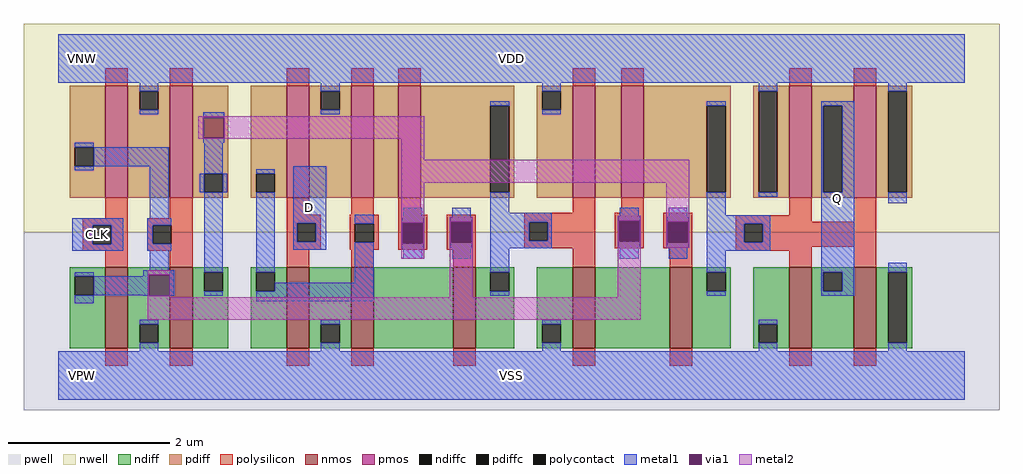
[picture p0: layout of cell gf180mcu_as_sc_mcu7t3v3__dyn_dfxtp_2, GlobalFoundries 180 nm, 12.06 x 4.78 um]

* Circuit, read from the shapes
.subckt gf180mcu_as_sc_mcu7t3v3__dyn_dfxtp_2 VDD VNW VPW VSS CLK D Q
XM1 VSS CLK n1 VPW nfet_03v3 w=1u l=0.28u
XM2 n2 n1 VSS VPW nfet_03v3 w=1u l=0.28u
XM3 VSS D n3 VPW nfet_03v3 w=1u l=0.28u
XM4 n4 n3 VSS VPW nfet_03v3 w=1u l=0.28u
XM5 n5 n1 n4 VPW nfet_03v3 w=1u l=0.28u
XM6 n6 n5 VSS VPW nfet_03v3 w=1u l=0.28u
XM7 n7 n2 n6 VPW nfet_03v3 w=1u l=0.28u
XM8 Q n7 VSS VPW nfet_03v3 w=1u l=0.28u m=2
XM9 VDD CLK n1 VNW pfet_03v3 w=1.38u l=0.28u
XM10 n2 n1 VDD VNW pfet_03v3 w=1.38u l=0.28u
XM11 VDD D n3 VNW pfet_03v3 w=1.38u l=0.28u
XM12 n8 n3 VDD VNW pfet_03v3 w=1.38u l=0.28u
XM13 n5 n2 n8 VNW pfet_03v3 w=1.38u l=0.28u
XM14 n9 n5 VDD VNW pfet_03v3 w=1.38u l=0.28u
XM15 n7 n1 n9 VNW pfet_03v3 w=1.38u l=0.28u
XM16 Q n7 VDD VNW pfet_03v3 w=1.38u l=0.28u m=2
.ends

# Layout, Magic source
magic
tech gf180mcuD
magscale 1 10
<< nwell >>
rect -86 354 2326 870
<< pwell >>
rect -86 -86 2326 354
<< nmos >>
rect 116 68 172 268
rect 276 68 332 268
rect 564 68 620 268
rect 724 68 780 268
rect 976 68 1032 268
rect 1271 68 1327 268
rect 1511 68 1567 268
rect 1806 68 1862 268
rect 1966 68 2022 268
<< pmos >>
rect 116 440 172 716
rect 276 440 332 716
rect 564 440 620 716
rect 724 440 780 716
rect 840 440 896 716
rect 1271 440 1327 716
rect 1391 440 1447 716
rect 1806 440 1862 716
rect 1966 440 2022 716
<< ndiff >>
rect 28 245 116 268
rect 28 199 41 245
rect 87 199 116 245
rect 28 68 116 199
rect 172 127 276 268
rect 172 81 201 127
rect 247 81 276 127
rect 172 68 276 81
rect 332 255 420 268
rect 332 209 361 255
rect 407 209 420 255
rect 332 68 420 209
rect 476 255 564 268
rect 476 209 489 255
rect 535 209 564 255
rect 476 68 564 209
rect 620 127 724 268
rect 620 81 649 127
rect 695 81 724 127
rect 620 68 724 81
rect 780 68 976 268
rect 1032 255 1127 268
rect 1032 209 1068 255
rect 1114 209 1127 255
rect 1032 68 1127 209
rect 1183 127 1271 268
rect 1183 81 1196 127
rect 1242 81 1271 127
rect 1183 68 1271 81
rect 1327 68 1511 268
rect 1567 255 1662 268
rect 1567 209 1603 255
rect 1649 209 1662 255
rect 1567 68 1662 209
rect 1718 127 1806 268
rect 1718 81 1731 127
rect 1777 81 1806 127
rect 1718 68 1806 81
rect 1862 255 1966 268
rect 1862 209 1891 255
rect 1937 209 1966 255
rect 1862 68 1966 209
rect 2022 255 2110 268
rect 2022 81 2051 255
rect 2097 81 2110 255
rect 2022 68 2110 81
<< pdiff >>
rect 28 564 116 716
rect 28 518 41 564
rect 87 518 116 564
rect 28 440 116 518
rect 172 703 276 716
rect 172 657 201 703
rect 247 657 276 703
rect 172 440 276 657
rect 332 499 420 716
rect 332 453 361 499
rect 407 453 420 499
rect 332 440 420 453
rect 476 499 564 716
rect 476 453 489 499
rect 535 453 564 499
rect 476 440 564 453
rect 620 703 724 716
rect 620 657 649 703
rect 695 657 724 703
rect 620 440 724 657
rect 780 440 840 716
rect 896 667 1127 716
rect 896 453 1068 667
rect 1114 453 1127 667
rect 896 440 1127 453
rect 1183 703 1271 716
rect 1183 657 1196 703
rect 1242 657 1271 703
rect 1183 440 1271 657
rect 1327 440 1391 716
rect 1447 667 1662 716
rect 1447 453 1603 667
rect 1649 453 1662 667
rect 1447 440 1662 453
rect 1718 703 1806 716
rect 1718 453 1731 703
rect 1777 453 1806 703
rect 1718 440 1806 453
rect 1862 667 1966 716
rect 1862 453 1891 667
rect 1937 453 1966 667
rect 1862 440 1966 453
rect 2022 703 2110 716
rect 2022 453 2051 703
rect 2097 453 2110 703
rect 2022 440 2110 453
<< ndiffc >>
rect 41 199 87 245
rect 201 81 247 127
rect 361 209 407 255
rect 489 209 535 255
rect 649 81 695 127
rect 1068 209 1114 255
rect 1196 81 1242 127
rect 1603 209 1649 255
rect 1731 81 1777 127
rect 1891 209 1937 255
rect 2051 81 2097 255
<< pdiffc >>
rect 41 518 87 564
rect 201 657 247 703
rect 361 453 407 499
rect 489 453 535 499
rect 649 657 695 703
rect 1068 453 1114 667
rect 1196 657 1242 703
rect 1603 453 1649 667
rect 1731 453 1777 703
rect 1891 453 1937 667
rect 2051 453 2097 703
<< polysilicon >>
rect 116 716 172 760
rect 276 716 332 760
rect 564 716 620 760
rect 724 716 780 760
rect 840 716 896 760
rect 1271 716 1327 760
rect 1391 716 1447 760
rect 1806 716 1862 760
rect 1966 716 2022 760
rect 116 389 172 440
rect 276 389 332 440
rect 60 371 172 389
rect 60 325 85 371
rect 131 325 172 371
rect 60 308 172 325
rect 220 372 332 389
rect 220 326 233 372
rect 279 326 332 372
rect 220 308 332 326
rect 116 268 172 308
rect 276 268 332 308
rect 564 398 620 440
rect 724 398 780 440
rect 840 398 896 440
rect 1271 402 1327 440
rect 1391 402 1447 440
rect 564 377 649 398
rect 564 331 590 377
rect 636 331 649 377
rect 564 311 649 331
rect 720 375 792 398
rect 720 329 733 375
rect 779 329 792 375
rect 720 311 792 329
rect 840 375 912 398
rect 840 329 853 375
rect 899 329 912 375
rect 840 311 912 329
rect 960 376 1032 398
rect 960 330 973 376
rect 1019 330 1032 376
rect 960 311 1032 330
rect 1151 379 1327 402
rect 1151 333 1164 379
rect 1210 333 1327 379
rect 1151 315 1327 333
rect 1375 380 1447 402
rect 1375 334 1388 380
rect 1434 334 1447 380
rect 1375 315 1447 334
rect 1495 377 1567 402
rect 1806 396 1862 440
rect 1495 331 1508 377
rect 1554 331 1567 377
rect 1495 315 1567 331
rect 564 268 620 311
rect 724 268 780 311
rect 976 268 1032 311
rect 1271 268 1327 315
rect 1511 268 1567 315
rect 1674 380 1862 396
rect 1966 380 2022 440
rect 1674 375 2022 380
rect 1674 329 1695 375
rect 1741 329 2022 375
rect 1674 319 2022 329
rect 1674 309 1862 319
rect 1806 268 1862 309
rect 1966 268 2022 319
rect 116 24 172 68
rect 276 24 332 68
rect 564 24 620 68
rect 724 24 780 68
rect 976 24 1032 68
rect 1271 24 1327 68
rect 1511 24 1567 68
rect 1806 24 1862 68
rect 1966 24 2022 68
<< polycontact >>
rect 85 325 131 371
rect 233 326 279 372
rect 590 331 636 377
rect 733 329 779 375
rect 853 329 899 375
rect 973 330 1019 376
rect 1164 333 1210 379
rect 1388 334 1434 380
rect 1508 331 1554 377
rect 1695 329 1741 375
<< metal1 >>
rect 0 724 2240 844
rect 201 703 247 724
rect 201 646 247 657
rect 649 703 695 724
rect 1196 703 1242 724
rect 358 639 410 651
rect 649 646 695 657
rect 1068 667 1114 678
rect 358 575 410 587
rect 41 564 87 575
rect 87 518 273 564
rect 41 507 87 518
rect 226 389 273 518
rect 361 499 407 575
rect 489 499 535 510
rect 350 453 361 499
rect 407 453 418 499
rect 35 371 160 389
rect 35 325 85 371
rect 131 325 160 371
rect 35 308 160 325
rect 220 372 279 389
rect 220 326 233 372
rect 220 308 279 326
rect 226 261 273 308
rect 41 245 87 256
rect 210 249 287 261
rect 210 245 223 249
rect 87 199 223 245
rect 41 179 87 199
rect 210 197 223 199
rect 275 197 287 249
rect 361 255 407 453
rect 361 198 407 209
rect 489 255 535 453
rect 581 377 662 518
rect 1731 703 1777 724
rect 1196 646 1242 657
rect 1603 667 1649 678
rect 581 331 590 377
rect 636 331 662 377
rect 581 311 662 331
rect 733 375 779 398
rect 853 390 899 415
rect 973 392 1019 415
rect 1068 402 1114 453
rect 733 230 779 329
rect 850 378 902 390
rect 850 314 902 326
rect 970 380 1022 392
rect 970 316 1022 328
rect 1068 379 1220 402
rect 1388 395 1434 415
rect 1068 333 1164 379
rect 1210 333 1220 379
rect 853 289 899 314
rect 973 289 1019 316
rect 1068 315 1220 333
rect 1385 383 1437 395
rect 1508 392 1554 415
rect 1603 396 1649 453
rect 2051 703 2097 724
rect 1731 442 1777 453
rect 1885 667 1967 678
rect 1885 453 1891 667
rect 1937 453 1967 667
rect 1385 319 1437 331
rect 1505 380 1557 392
rect 535 209 779 230
rect 489 184 779 209
rect 1068 255 1114 315
rect 1388 289 1434 319
rect 1505 316 1557 328
rect 1603 375 1760 396
rect 1603 329 1695 375
rect 1741 329 1760 375
rect 1508 289 1554 316
rect 1603 309 1760 329
rect 1068 198 1114 209
rect 1603 255 1649 309
rect 1603 198 1649 209
rect 1885 255 1967 453
rect 2051 426 2097 453
rect 1885 209 1891 255
rect 1937 209 1967 255
rect 1885 198 1967 209
rect 2051 255 2097 279
rect 201 127 247 138
rect 201 60 247 81
rect 649 127 695 138
rect 649 60 695 81
rect 1196 127 1242 138
rect 1196 60 1242 81
rect 1731 127 1777 138
rect 1731 60 1777 81
rect 2051 60 2097 81
rect 0 -60 2240 60
<< via1 >>
rect 358 587 410 639
rect 223 197 275 249
rect 850 375 902 378
rect 850 329 853 375
rect 853 329 899 375
rect 899 329 902 375
rect 850 326 902 329
rect 970 376 1022 380
rect 970 330 973 376
rect 973 330 1019 376
rect 1019 330 1022 376
rect 970 328 1022 330
rect 1385 380 1437 383
rect 1385 334 1388 380
rect 1388 334 1434 380
rect 1434 334 1437 380
rect 1385 331 1437 334
rect 1505 377 1557 380
rect 1505 331 1508 377
rect 1508 331 1554 377
rect 1554 331 1557 377
rect 1505 328 1557 331
<< metal2 >>
rect 346 639 904 641
rect 346 587 358 639
rect 410 587 904 639
rect 346 585 904 587
rect 848 533 904 585
rect 848 477 1559 533
rect 848 378 904 477
rect 848 326 850 378
rect 902 326 904 378
rect 848 289 904 326
rect 968 380 1024 392
rect 968 328 970 380
rect 1022 328 1024 380
rect 221 249 277 261
rect 221 197 223 249
rect 275 197 277 249
rect 221 194 277 197
rect 968 194 1024 328
rect 1383 383 1439 395
rect 1383 331 1385 383
rect 1437 331 1439 383
rect 1383 194 1439 331
rect 1503 380 1559 477
rect 1503 328 1505 380
rect 1557 328 1559 380
rect 1503 316 1559 328
rect 221 138 1439 194
<< labels >>
flabel metal1 s 0 724 2240 844 0 FreeSans 400 0 0 0 VDD
port 1 nsew power bidirectional abutment
flabel metal1 s 0 -60 2240 60 0 FreeSans 400 0 0 0 VSS
port 4 nsew ground bidirectional abutment
flabel nwell s 10 734 110 834 0 FreeSans 400 0 0 0 VNW
port 2 nsew power bidirectional
flabel pwell s 10 -50 110 50 0 FreeSans 400 0 0 0 VPW
port 3 nsew ground bidirectional
flabel metal1 35 308 160 389 0 FreeSans 200 0 0 0 CLK
port 5 nsew clock input
flabel metal1 581 311 662 518 0 FreeSans 200 0 0 0 D
port 6 nsew signal input
flabel metal1 1885 198 1967 678 0 FreeSans 200 0 0 0 Q
port 7 nsew signal output
<< properties >>
string FIXED_BBOX 0 0 2240 784
string LEFclass CORE
string LEFsite unithd
string LEFsymmetry X Y
string MASKHINTS_NPLUS -16 -46 2256 354
string MASKHINTS_PPLUS -16 354 2256 830
<< end >>
